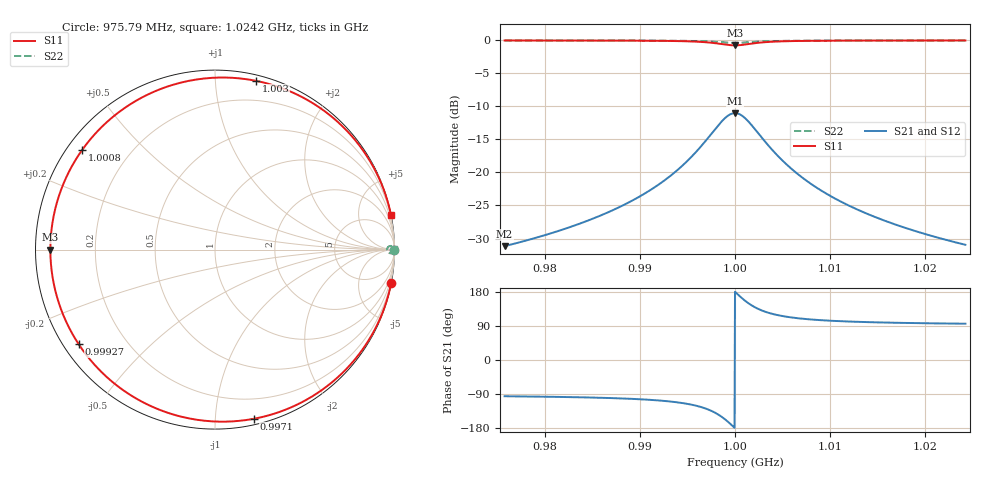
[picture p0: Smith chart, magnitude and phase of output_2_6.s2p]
! File generated for n1 = 2, n2 = 6
! b1 = 46.415888
! b2 = 1.000000
! Q0 = 10000.000000
! f0 = 1000000000.000000
! n = 1001
! rel_span = 10.000000
# Hz S RI R 50
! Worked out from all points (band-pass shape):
!   1001 points, 975.79 MHz to 1.0242 GHz, reference 50 ohm
!   highest |S21| = -11.01 dB at 1 GHz (marker M1); lowest = -31.2 dB at 975.79 MHz (marker M2)
!   |S21| within 3 dB of the highest: 997.5879 MHz to 1.002418 GHz (4.83 MHz wide, 0.483 % of centre)
!   lowest |S11| = -0.7 dB at 1 GHz (marker M3), VSWR 23.21, Z = 2.15 + j0 ohm
!   |S11| at or under -10 dB: nowhere
!   |S22| runs from -0.4 to 0.0 dB; largest |S21 - S12| = 0
!   S11 on the Smith chart (normalised r, x): 975.79 MHz: 0, -11; 997.1 MHz: 0.04, -1.25; 999.27 MHz: 0.04, -0.31; 1.0008 GHz: 0.04, +0.33; 1.003 GHz: 0.04, +1.27; 1.0242 GHz: 0, +10
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9.757921e8  0.9815 -0.1876  -0.00272 -0.0275  -0.00272 -0.0275  0.9996 -0.00404
9.838775e8  0.9584 -0.2794  -0.00611 -0.041  -0.00611 -0.041  0.9991 -0.00602
9.88477e8  0.9199 -0.3837  -0.0118 -0.0563  -0.0118 -0.0563  0.9983 -0.00827
9.91963e8  0.8417 -0.5277  -0.0232 -0.0775  -0.0232 -0.0775  0.9966 -0.0114
9.950616e8  0.63 -0.7566  -0.0543 -0.1111  -0.0543 -0.1111  0.992 -0.0163
9.961751e8  0.4531 -0.8657  -0.0803 -0.1271  -0.0803 -0.1271  0.9882 -0.0187
9.97095e8  0.2155 -0.9427  -0.1151 -0.1384  -0.1151 -0.1384  0.9831 -0.0203
9.983054e8  -0.2861 -0.901  -0.1888 -0.1323  -0.1888 -0.1323  0.9723 -0.0194
9.987896e8  -0.5335 -0.7672  -0.2251 -0.1126  -0.2251 -0.1126  0.967 -0.0165
9.992738e8  -0.759 -0.5279  -0.2582 -0.0775  -0.2582 -0.0775  0.9621 -0.0114
1e9  -0.9174 0  -0.2814 0  -0.2814 0  0.9587 0
1.000387e9  -0.8695 0.2991  -0.2744 0.0439  -0.2744 0.0439  0.9597 0.00644
1.000775e9  -0.7394 0.5564  -0.2553 0.0817  -0.2553 0.0817  0.9625 0.012
1.00121e9  -0.5343 0.7667  -0.2252 0.1125  -0.2252 0.1125  0.9669 0.0165
1.001695e9  -0.2875 0.9005  -0.189 0.1322  -0.189 0.1322  0.9723 0.0194
1.002227e9  -0.0395 0.9553  -0.1526 0.1402  -0.1526 0.1402  0.9776 0.0206
1.002953e9  0.2281 0.9403  -0.1133 0.138  -0.1133 0.138  0.9834 0.0203
1.003873e9  0.4599 0.8625  -0.0793 0.1266  -0.0793 0.1266  0.9884 0.0186
1.004987e9  0.6329 0.7544  -0.0539 0.1107  -0.0539 0.1107  0.9921 0.0163
1.008085e9  0.8411 0.5286  -0.0233 0.0776  -0.0233 0.0776  0.9966 0.0114
1.016171e9  0.9573 0.2829  -0.00627 0.0415  -0.00627 0.0415  0.9991 0.00609
1.024208e9  0.9806 0.1921  -0.00285 0.0282  -0.00285 0.0282  0.9996 0.00414
